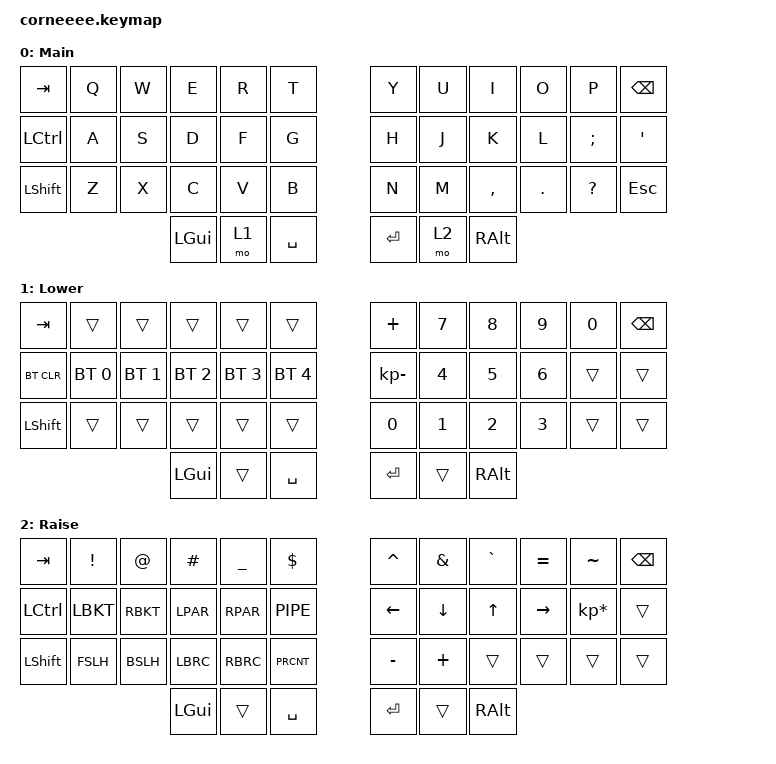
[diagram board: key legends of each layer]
/*
 * Copyright (c) 2020 The ZMK Contributors
 *
 * SPDX-License-Identifier: MIT
 */

#include <behaviors.dtsi>
#include <dt-bindings/zmk/keys.h>
#include <dt-bindings/zmk/bt.h>

/ {
        keymap {
                compatible = "zmk,keymap";

                default_layer {
// -----------------------------------------------------------------------------------------
// |  TAB |  Q  |  W  |  E  |  R  |  T  |   |  Y  |  U   |  I  |  O  |  P  | BKSP |
// | CTRL |  A  |  S  |  D  |  F  |  G  |   |  H  |  J   |  K  |  L  |  ;  |  '   |
// | SHFT |  Z  |  X  |  C  |  V  |  B  |   |  N  |  M   |  ,  |  .  |  ?  | ESC  |
//                    | GUI | LWR | SPC |   | ENT | RSE  | ALT |
                        display-name = "Main";
                        bindings = <
   &kp TAB   &kp Q &kp W &kp E &kp R &kp T   &kp Y &kp U  &kp I     &kp O   &kp P    &kp BSPC
   &kp LCTRL &kp A &kp S &kp D &kp F &kp G   &kp H &kp J  &kp K     &kp L   &kp SEMI &kp SQT
   &kp LSHFT &kp Z &kp X &kp C &kp V &kp B   &kp N &kp M  &kp COMMA &kp DOT &kp QMARK &kp ESC
                  &kp LGUI &mo 1 &kp SPACE   &kp RET &mo 2 &kp RALT
                        >;
                };
                lower_layer {
// -----------------------------------------------------------------------------------------
// |  TAB |     |     |     |     |     |   |  +  |  7  |  8  |  9  |     | BKSP |
// | BTCLR| BT1 | BT2 | BT3 | BT4 | BT5 |   |  -  |  4  |  5  |  6  |     |      |
// | SHFT |     |     |     |     |     |   |  0  |  1  |  2  |  3  |     |      |
//                    | GUI |     | SPC |   | ENT |     | ALT |
                        display-name = "Lower";
                        bindings = <
   &kp TAB    &trans       &trans  &trans  &trans  &trans                      &kp PLUS     &kp N7  &kp N8 &kp N9    &kp N0 &kp BSPC
   &bt BT_CLR &bt BT_SEL 0 &bt BT_SEL 1 &bt BT_SEL 2 &bt BT_SEL 3 &bt BT_SEL 4 &kp KP_MINUS &kp N4  &kp N5 &kp N6    &trans &trans
   &kp LSHFT  &trans       &trans       &trans       &trans       &trans       &kp N0       &kp N1  &kp N2 &kp N3    &trans &trans
                          	        &kp LGUI     &trans       &kp SPACE        &kp RET  &trans   &kp RALT
                        >;
                };

                raise_layer {
// -----------------------------------------------------------------------------------------
// |  TAB |  !  |  @  |  #  |  _  |  $  |   |  ^  |  &  |  *  |  =  |  ~  | BKSP |
// | CTRL |  [  |  ]  |  (  |  )  | "|" |   | LFT | DWN | UP  | RGT |  *  |  `   |
// | SHFT |  /  |  \  |  {  |  }  |  %  |   |  -  |  +  |     |     |     |      |
//                    | GUI |     | SPC |   | ENT |     | ALT |
                        display-name = "Raise";
                        bindings = <
   &kp  TAB   &kp EXCL &kp AT &kp HASH &kp UNDER &kp DLLR   &kp CARET  &kp AMPS   &kp GRAVE   &kp EQUAL &kp TILDE       &kp BSPC
   &kp  LCTRL &LBKT    &RBKT  &LPAR    &RPAR     &PIPE      &kp LEFT   &kp DOWN   &kp UP      &kp RIGHT &kp KP_MULTIPLY &trans
   &kp  LSHFT &FSLH    &BSLH  &LBRC    &RBRC     &PRCNT     &kp MINUS  &kp PLUS   &trans   &trans &trans       &trans
                    	     &kp LGUI &trans   &kp SPACE   &kp RET   &trans    &kp RALT
                        >;
                };
        };
};
